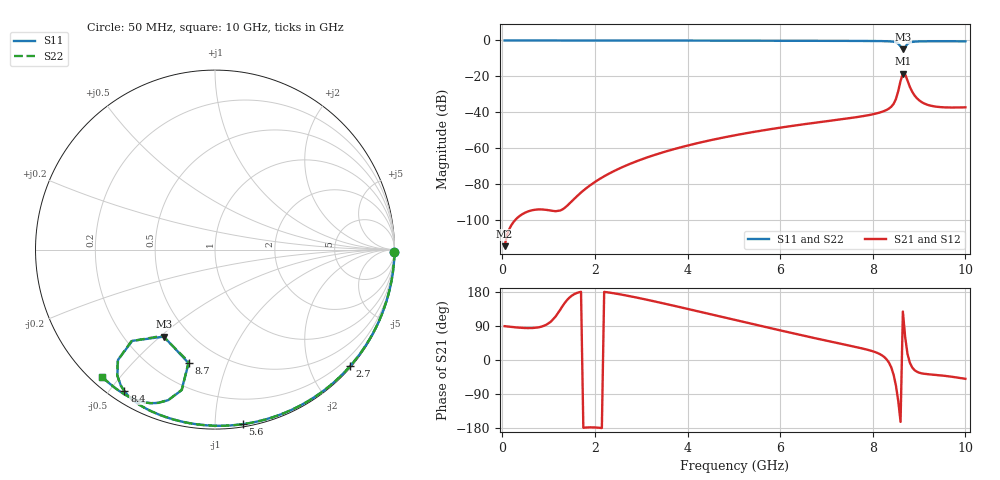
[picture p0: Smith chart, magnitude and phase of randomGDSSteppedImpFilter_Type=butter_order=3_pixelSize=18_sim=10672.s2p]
! freq	dB(S11)	phase(S11)	dB(S12)	phase(S12)
!  dB(S21)	phase(S21)	dB(S22)	phase(S22)
!S-par simulation data
#  GHz  S  DB  R 50
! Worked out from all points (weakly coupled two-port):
!   200 points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, 50 MHz to 10 GHz, reference 50 ohm
!   highest |S21| = -18.48 dB at 8.65 GHz (marker M1); lowest = -114.3 dB at 50 MHz (marker M2)
!   lowest |S11| = -5.0 dB at 8.65 GHz (marker M3), VSWR 3.57, Z = 18.1 - j25.7 ohm
!   |S11| at or under -10 dB: nowhere
!   |S22| runs from -5.0 to 0.0 dB; largest |S21 - S12| = 0
!   S11 on the Smith chart (normalised r, x): 50 MHz: open; 2.7 GHz: 0.02, -2.70; 5.6 GHz: 0.02, -1.17; 8.4 GHz: 0.04, -0.55; 8.7 GHz: 0.34, -0.74; 10 GHz: 0.03, -0.45
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0.05  -0.00 -0.8  -114.28 89.3  -114.28 89.3  -0.00 -0.8
1.75  -0.03 -26.7  -83.40 -178.9  -83.40 -178.9  -0.03 -26.7
1.95  -0.04 -29.6  -79.49 -177.7  -79.49 -177.7  -0.04 -29.7
2.7  -0.05 -40.7  -69.17 169.7  -69.17 169.7  -0.05 -40.7
3.4  -0.07 -50.8  -62.69 151.6  -62.69 151.6  -0.07 -50.8
5.05  -0.11 -73.6  -52.55 105.0  -52.55 105.0  -0.11 -73.6
5.6  -0.13 -80.9  -50.07 89.4  -50.07 89.4  -0.13 -80.9
6.7  -0.18 -95.2  -45.89 59.0  -45.89 59.0  -0.18 -95.2
7.9  -0.28 -111.5  -41.54 26.6  -41.54 26.6  -0.28 -111.5
8.35  -0.48 -120.8  -37.84 -7.1  -37.84 -7.1  -0.48 -120.8
8.4  -0.57 -122.6  -36.81 -19.7  -36.81 -19.7  -0.56 -122.6
8.5  -1.04 -127.8  -32.54 -67.5  -32.54 -67.5  -1.03 -127.8
8.55  -1.74 -131.3  -28.09 -108.2  -28.09 -108.2  -1.71 -131.3
8.6  -3.27 -132.2  -22.47 -163.3  -22.47 -163.3  -3.21 -132.4
8.65  -5.00 -120.5  -18.48 127.8  -18.48 127.8  -5.00 -121.4
8.7  -3.75 -103.1  -18.84 60.0  -18.84 60.0  -3.85 -103.2
8.75  -1.88 -103.4  -22.29 16.0  -22.29 16.0  -1.92 -103.3
8.8  -1.12 -107.3  -25.73 -7.0  -25.73 -7.0  -1.14 -107.2
8.9  -0.66 -112.6  -30.46 -26.5  -30.46 -26.5  -0.66 -112.6
9.1  -0.47 -118.3  -34.88 -36.2  -34.88 -36.2  -0.47 -118.3
9.4  -0.43 -123.5  -36.89 -39.8  -36.89 -39.8  -0.43 -123.6
10  -0.47 -131.7  -37.14 -49.7  -37.14 -49.7  -0.47 -131.7
